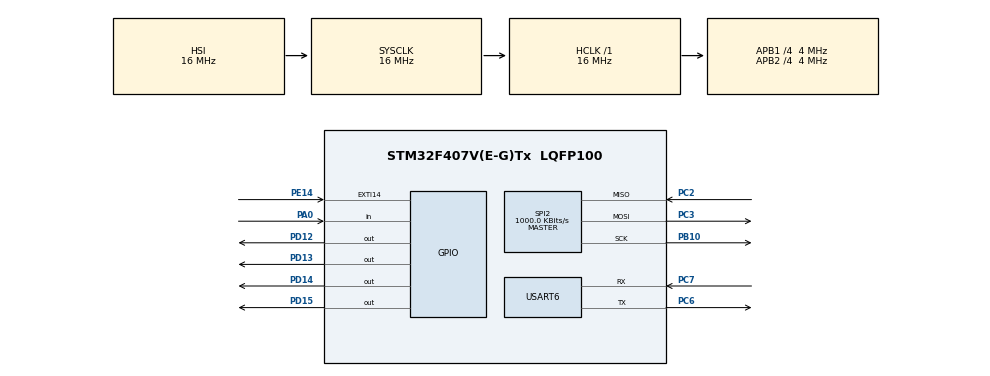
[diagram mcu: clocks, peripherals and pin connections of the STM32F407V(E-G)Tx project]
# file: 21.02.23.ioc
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Mcu.Family=STM32F4
Mcu.Name=STM32F407V(E-G)Tx
Mcu.Package=LQFP100
NVIC.EXTI15_10_IRQn=true\:0\:0\:false\:false\:true\:true\:true\:true
NVIC.PriorityGroup=NVIC_PRIORITYGROUP_0
PA0-WKUP.Signal=GPIO_Input
PA13.Mode=Serial_Wire
PA13.Signal=SYS_JTMS-SWDIO
PA14.Mode=Serial_Wire
PA14.Signal=SYS_JTCK-SWCLK
PB10.Mode=Full_Duplex_Master
PB10.Signal=SPI2_SCK
PC2.Mode=Full_Duplex_Master
PC2.Signal=SPI2_MISO
PC3.Mode=Full_Duplex_Master
PC3.Signal=SPI2_MOSI
PC6.Mode=Asynchronous
PC6.Signal=USART6_TX
PC7.Mode=Asynchronous
PC7.Signal=USART6_RX
PD12.Signal=GPIO_Output
PD13.Signal=GPIO_Output
PD14.Signal=GPIO_Output
PD15.Signal=GPIO_Output
PE14.Signal=GPXTI14
ProjectManager.HeapSize=0x200
ProjectManager.StackSize=0x400
ProjectManager.TargetToolchain=MDK-ARM V5.32
RCC.48MHZClocksFreq_Value=96000000
RCC.AHBFreq_Value=16000000
RCC.APB1CLKDivider=RCC_HCLK_DIV4
RCC.APB1Freq_Value=4000000
RCC.APB1TimFreq_Value=8000000
RCC.APB2CLKDivider=RCC_HCLK_DIV4
RCC.APB2Freq_Value=4000000
RCC.APB2TimFreq_Value=8000000
RCC.CortexFreq_Value=16000000
RCC.HCLKFreq_Value=16000000
RCC.HSE_VALUE=8000000
RCC.HSI_VALUE=16000000
RCC.LSE_VALUE=32768
RCC.PLLM=8
RCC.PLLN=336
RCC.PLLQ=7
RCC.SYSCLKFreq_VALUE=16000000
RCC.VCOOutputFreq_Value=672000000
SPI2.BaudRatePrescaler=SPI_BAUDRATEPRESCALER_4
SPI2.CalculateBaudRate=1000.0 KBits/s
SPI2.Direction=SPI_DIRECTION_2LINES
SPI2.Mode=SPI_MODE_MASTER
SPI2.VirtualType=VM_MASTER
USART6.VirtualMode=VM_ASYNC
board=STM32F407G-DISC1

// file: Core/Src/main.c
/* USER CODE BEGIN Header */
/**
  ******************************************************************************
  * @file           : main.c
  * @brief          : Main program body
  ******************************************************************************
  * @attention
  *
  * Copyright (c) 2023 STMicroelectronics.
  * All rights reserved.
  *
  * This software is licensed under terms that can be found in the LICENSE file
  * in the root directory of this software component.
  * If no LICENSE file comes with this software, it is provided AS-IS.
  *
  ******************************************************************************
  */
/* USER CODE END Header */
#include "main.h"

/* USER CODE BEGIN Includes */
#include <stdio.h>
/* USER CODE END Includes */

/* USER CODE BEGIN PTD */
#ifdef __GNUC__
  /* With GCC, small printf (option LD Linker->Libraries->Small printf
     set to 'Yes') calls __io_putchar() */
  #define PUTCHAR_PROTOTYPE int __io_putchar(int ch)
#else
  #define PUTCHAR_PROTOTYPE int fputc(int ch, FILE *f)
#endif /* __GNUC__ */
/* USER CODE END PTD */

void TDC7200_SPIByteWriteReg(uint8_t addr, uint8_t value);
/* USER CODE BEGIN PM */
/************************************************************
* TDC7200 REGISTER SET ADDRESSES
************************************************************/

#define TDC7200_CONFIG1_REG						0x00
#define TDC7200_CONFIG2_REG						0x01
#define TDC7200_INTRPT_STATUS_REG				0x02
#define TDC7200_INTRPT_MASK_REG					0x03
#define TDC7200_COARSE_COUNTER_OVH_REG			0x04
#define TDC7200_COARSE_COUNTER_OVL_REG			0x05
#define TDC7200_CLOCK_COUNTER_OVH_REG			0x06
#define TDC7200_CLOCK_COUNTER_OVL_REG			0x07
#define TDC7200_CLOCK_COUNTER_STOP_MASKH_REG	0x08
#define TDC7200_CLOCK_COUNTER_STOP_MASKL_REG	0x09

#define TDC7200_TIME1_REG						0x10
#define TDC7200_CLOCK_COUNT1_REG				0x11
#define TDC7200_TIME2_REG						0x12
#define TDC7200_CLOCK_COUNT2_REG				0x13
#define TDC7200_TIME3_REG						0x14
#define TDC7200_CLOCK_COUNT3_REG				0x15
#define TDC7200_TIME4_REG						0x16
#define TDC7200_CLOCK_COUNT4_REG				0x17
#define TDC7200_TIME5_REG						0x18
#define TDC7200_CLOCK_COUNT5_REG				0x19
#define TDC7200_TIME6_REG						0x1A
#define TDC7200_CALIBRATION1_REG				0x1B
#define TDC7200_CALIBRATION2_REG				0x1C

#define TDC7200_TOTAL_NUM_CONFIG_REG			10
#define TDC7200_TOTAL_NUM_RESULT_REG			39

/* USER CODE END PM */

SPI_HandleTypeDef hspi2;

UART_HandleTypeDef huart6;

/* USER CODE BEGIN PV */
void TDC7200_reg_init(void);
void tdc_trigger_measure(void);
/* USER CODE END PV */

void SystemClock_Config(void);
static void MX_GPIO_Init(void);
static void MX_SPI2_Init(void);
static void MX_USART6_UART_Init(void);
/* USER CODE BEGIN PFP */

uint8_t b[3],b0[2],b1[2],b2[2],b3[2],b4[2],b5[2],b6[2],b7[2],b8[2],b9[2],i0[3];
uint8_t temp[3];

uint8_t a0,a1,a2;
uint8_t d0[4],d1[4],d2[4],d3[4],d5[4];
/* USER CODE END PFP */
uint8_t TDC7200_reg_local_copy[10] = {0x02, 0x40, 0x07, 0x07, 0xFF, 0xFF, 0xFF, 0xFF, 0x0, 0x0 };
/* USER CODE BEGIN 0 */
int i=0;
uint8_t byte_data[3];
uint8_t read_data[2];
/* USER CODE END 0 */
uint8_t upStreamBuf[48];

    long int uTime[2];
    long int uClk;
    long int uCal[2];
 long int us, ur;
    long int ds, dr;
    long int dn;
    long int dmy;
int flag=0;
long double CLOCKperiod;
long double calCount,normLSB,TOF,LSB,mTOF;
int main(void)
{

  /* MCU Configuration--------------------------------------------------------*/

  /* Reset of all peripherals, Initializes the Flash interface and the Systick. */
  HAL_Init();

  /* Configure the system clock */
  SystemClock_Config();

  /* Initialize all configured peripherals */
  MX_GPIO_Init();
  MX_SPI2_Init();
  MX_USART6_UART_Init();
	printf("\n\rTDC7200\n\r ");
		printf("\n\rInitializing TDC7200 Registers.... ");
  /* USER CODE BEGIN 2 */
HAL_GPIO_WritePin(GPIOD, GPIO_PIN_14, GPIO_PIN_RESET);//en
HAL_Delay(1000);
HAL_GPIO_WritePin(GPIOD, GPIO_PIN_14, GPIO_PIN_SET);//en

  /* USER CODE END 2 */
/* init registers of TDC7200 */
TDC7200_reg_init();

	printf("\n\rClear error flags and reset state machine");

HAL_GPIO_WritePin(GPIOD, GPIO_PIN_15, GPIO_PIN_RESET);
temp[0]= 0x02;
temp[0]|=(0x40);
temp[1]=0x1F;
HAL_SPI_Transmit(&hspi2,temp ,2, 50);
HAL_GPIO_WritePin(GPIOD, GPIO_PIN_15, GPIO_PIN_SET);
HAL_Delay(1000);
HAL_GPIO_WritePin(GPIOD, GPIO_PIN_15, GPIO_PIN_RESET);
temp[0]= TDC7200_INTRPT_STATUS_REG;
HAL_SPI_Transmit(&hspi2,temp ,1, 50);
HAL_SPI_Receive(&hspi2,&temp[2],1, 50);
HAL_GPIO_WritePin(GPIOD, GPIO_PIN_15, GPIO_PIN_SET);
HAL_Delay(1000);
printf("\n\r set start measurement bit");
HAL_GPIO_WritePin(GPIOD, GPIO_PIN_15, GPIO_PIN_RESET);

HAL_GPIO_WritePin(GPIOD, GPIO_PIN_15, GPIO_PIN_RESET);
byte_data[0]=TDC7200_CONFIG1_REG;
byte_data[0] |= 0x40;
byte_data[1] =0x03;
HAL_SPI_Transmit(&hspi2,byte_data,2, 50);
HAL_GPIO_WritePin(GPIOD, GPIO_PIN_15, GPIO_PIN_SET);
HAL_GPIO_WritePin(GPIOD, GPIO_PIN_13, GPIO_PIN_SET);
HAL_Delay(1/2);
HAL_GPIO_WritePin(GPIOD, GPIO_PIN_13, GPIO_PIN_RESET);
HAL_Delay(4);
HAL_GPIO_WritePin(GPIOD, GPIO_PIN_12, GPIO_PIN_SET);
HAL_Delay(1/2);
HAL_GPIO_WritePin(GPIOD, GPIO_PIN_12, GPIO_PIN_RESET);

HAL_Delay(3000);

printf("\n\r Measurement Done...Calculating TOF ");
printf(" \n\r Reading all the result registers");

//INT status

HAL_GPIO_WritePin(GPIOD, GPIO_PIN_15, GPIO_PIN_RESET);
i0[0]=0x02 ;//| 0x40;;
HAL_SPI_Transmit(&hspi2,i0 ,1, 50);
HAL_SPI_Receive(&hspi2,&i0[1],3, 50);
HAL_GPIO_WritePin(GPIOD, GPIO_PIN_15, GPIO_PIN_SET);
HAL_Delay(1000);

//TDC7200_TIME1_REG

HAL_GPIO_WritePin(GPIOD, GPIO_PIN_15, GPIO_PIN_RESET);
d0[0]=0x10 ;//| 0x40;;
HAL_SPI_Transmit(&hspi2,d0 ,1, 50);
HAL_SPI_Receive(&hspi2,&d0[1],3, 50);
HAL_GPIO_WritePin(GPIOD, GPIO_PIN_15, GPIO_PIN_SET);
HAL_Delay(1000);

//TDC7200_CLOCK_COUNT1_REG
HAL_GPIO_WritePin(GPIOD, GPIO_PIN_15, GPIO_PIN_RESET);
d1[0]=0x11;//| 0x40;
HAL_SPI_Transmit(&hspi2,d1 ,1, 50);
HAL_SPI_Receive(&hspi2,&d1[1],3, 50);
HAL_GPIO_WritePin(GPIOD, GPIO_PIN_15, GPIO_PIN_SET);
HAL_Delay(1000);

//TDC7200_TIME1_REG
HAL_GPIO_WritePin(GPIOD, GPIO_PIN_15, GPIO_PIN_RESET);
d5[0]=0x12;//| 0x40;
HAL_SPI_Transmit(&hspi2,d5 ,1, 50);
HAL_SPI_Receive(&hspi2,&d5[1],3, 50);
HAL_GPIO_WritePin(GPIOD, GPIO_PIN_15, GPIO_PIN_SET);
HAL_Delay(1000);
//TDC7200_CALIBRATION1_REG
HAL_GPIO_WritePin(GPIOD, GPIO_PIN_15, GPIO_PIN_RESET);
d2[0]=0x1B ;//| 0x40;;
HAL_SPI_Transmit(&hspi2,d2 ,1, 50);
HAL_SPI_Receive(&hspi2,&d2[1],3, 50);
HAL_GPIO_WritePin(GPIOD, GPIO_PIN_15, GPIO_PIN_SET);
HAL_Delay(1000);

//TDC7200_CALIBRATION2_REG
HAL_GPIO_WritePin(GPIOD, GPIO_PIN_15, GPIO_PIN_RESET);
d3[0]=0x1C;//| 0x40;
HAL_SPI_Transmit(&hspi2,d3 ,1, 50);
HAL_SPI_Receive(&hspi2,&d3[1],3, 50);
HAL_GPIO_WritePin(GPIOD, GPIO_PIN_15, GPIO_PIN_SET);
HAL_Delay(1000);

//tof ccalculation
uTime[0]=0;
uTime[0]=d0[1];
uTime[0] <<= 8;
uTime[0]  += d0[2];
uTime[0] <<= 8;
uTime[0]  += d0[3];

uTime[1]=0;
uTime[1]=d5[1];
uTime[1] <<= 8;
uTime[1]  += d5[2];
uTime[1] <<= 8;
uTime[1]  += d5[3];

		uClk   = 0;
   	uClk   = d1[1];
   	uClk <<= 8;
   	uClk  += d1[2];
   	uClk <<= 8;
   	uClk  += d1[3];

	  uCal[0]  = 0;
   	uCal[0]   = d2[1];
   	uCal[0] <<= 8;
   	uCal[0]  += d2[2];
    uCal[0] <<= 8;
   	uCal[0]  += d2[3];

		 uCal[1]  = 0;
   	uCal[1]   = d3[1];
   	uCal[1] <<= 8;
   	uCal[1]  += d3[2];
    uCal[1] <<= 8;
   	uCal[1]  += d3[3];

//		dmy = (uTime[0] - uTime[1])*140625;
//      dn  = uCal[1] - uCal[0];
//      us  = dmy / dn;

//      ur  = dmy - us*dn;
//      dmy = dn / 2;
//      ur  = (ur*8 + dmy);
//      ur  = ur / dn;
//      us  = 8*us + ur;
//      us  = us + uClk * 125000;

  calCount= (	uCal[1]-uCal[0])/(10-1);
	CLOCKperiod=(8000000);
	//normLSB=CLOCKperiod/calCount;
LSB=calCount*8000000;
normLSB=1/LSB;
  TOF=(uTime[0]*normLSB)+(uClk/CLOCKperiod)-(uTime[1]*normLSB);
 mTOF=TOF*1000;
printf("\n\r TOF= %f s",TOF);
printf("\n\r TOF(in ms)= %f ms",mTOF);
/* Infinite loop */
  while (1)
  {

  }
}
void HAL_GPIO_EXTI_Callback(uint16_t GPIO_Pin)
{
 //HAL_UART_Transmit(&huart6,(uint8_t*)"Trigger",sizeof("Trigger"),200);
flag=1;
}
void SystemClock_Config(void)
{
  RCC_OscInitTypeDef RCC_OscInitStruct = {0};
  RCC_ClkInitTypeDef RCC_ClkInitStruct = {0};

  /** Configure the main internal regulator output voltage
  */
  __HAL_RCC_PWR_CLK_ENABLE();
  __HAL_PWR_VOLTAGESCALING_CONFIG(PWR_REGULATOR_VOLTAGE_SCALE1);

  /** Initializes the RCC Oscillators according to the specified parameters
  * in the RCC_OscInitTypeDef structure.
  */
  RCC_OscInitStruct.OscillatorType = RCC_OSCILLATORTYPE_HSI;
  RCC_OscInitStruct.HSIState = RCC_HSI_ON;
  RCC_OscInitStruct.HSICalibrationValue = RCC_HSICALIBRATION_DEFAULT;
  RCC_OscInitStruct.PLL.PLLState = RCC_PLL_NONE;
  if (HAL_RCC_OscConfig(&RCC_OscInitStruct) != HAL_OK)
  {
    Error_Handler();
  }

  /** Initializes the CPU, AHB and APB buses clocks
  */
  RCC_ClkInitStruct.ClockType = RCC_CLOCKTYPE_HCLK|RCC_CLOCKTYPE_SYSCLK
                              |RCC_CLOCKTYPE_PCLK1|RCC_CLOCKTYPE_PCLK2;
  RCC_ClkInitStruct.SYSCLKSource = RCC_SYSCLKSOURCE_HSI;
  RCC_ClkInitStruct.AHBCLKDivider = RCC_SYSCLK_DIV1;
  RCC_ClkInitStruct.APB1CLKDivider = RCC_HCLK_DIV4;
  RCC_ClkInitStruct.APB2CLKDivider = RCC_HCLK_DIV4;

  if (HAL_RCC_ClockConfig(&RCC_ClkInitStruct, FLASH_LATENCY_0) != HAL_OK)
  {
    Error_Handler();
  }
}

static void MX_SPI2_Init(void)
{

  /* SPI2 parameter configuration*/
  hspi2.Instance = SPI2;
  hspi2.Init.Mode = SPI_MODE_MASTER;
  hspi2.Init.Direction = SPI_DIRECTION_2LINES;
  hspi2.Init.DataSize = SPI_DATASIZE_8BIT;
  hspi2.Init.CLKPolarity = SPI_POLARITY_LOW;
  hspi2.Init.CLKPhase = SPI_PHASE_1EDGE;
  hspi2.Init.NSS = SPI_NSS_SOFT;
  hspi2.Init.BaudRatePrescaler = SPI_BAUDRATEPRESCALER_4;
  hspi2.Init.FirstBit = SPI_FIRSTBIT_MSB;
  hspi2.Init.TIMode = SPI_TIMODE_DISABLE;
  hspi2.Init.CRCCalculation = SPI_CRCCALCULATION_DISABLE;
  hspi2.Init.CRCPolynomial = 10;
  if (HAL_SPI_Init(&hspi2) != HAL_OK)
  {
    Error_Handler();
  }

}

static void MX_USART6_UART_Init(void)
{

  huart6.Instance = USART6;
  huart6.Init.BaudRate = 115200;
  huart6.Init.WordLength = UART_WORDLENGTH_8B;
  huart6.Init.StopBits = UART_STOPBITS_1;
  huart6.Init.Parity = UART_PARITY_NONE;
  huart6.Init.Mode = UART_MODE_TX_RX;
  huart6.Init.HwFlowCtl = UART_HWCONTROL_NONE;
  huart6.Init.OverSampling = UART_OVERSAMPLING_16;
  if (HAL_UART_Init(&huart6) != HAL_OK)
  {
    Error_Handler();
  }

}

static void MX_GPIO_Init(void)
{
  GPIO_InitTypeDef GPIO_InitStruct = {0};

  /* GPIO Ports Clock Enable */
  __HAL_RCC_GPIOC_CLK_ENABLE();
  __HAL_RCC_GPIOA_CLK_ENABLE();
  __HAL_RCC_GPIOE_CLK_ENABLE();
  __HAL_RCC_GPIOB_CLK_ENABLE();
  __HAL_RCC_GPIOD_CLK_ENABLE();

  /*Configure GPIO pin Output Level */
  HAL_GPIO_WritePin(GPIOD, GPIO_PIN_12|GPIO_PIN_13|GPIO_PIN_14|GPIO_PIN_15, GPIO_PIN_RESET);

  /*Configure GPIO pin : PA0 */
  GPIO_InitStruct.Pin = GPIO_PIN_0;
  GPIO_InitStruct.Mode = GPIO_MODE_INPUT;
  GPIO_InitStruct.Pull = GPIO_NOPULL;
  HAL_GPIO_Init(GPIOA, &GPIO_InitStruct);

  /*Configure GPIO pin : PE14 */
  GPIO_InitStruct.Pin = GPIO_PIN_14;
  GPIO_InitStruct.Mode = GPIO_MODE_IT_RISING;
  GPIO_InitStruct.Pull = GPIO_NOPULL;
  HAL_GPIO_Init(GPIOE, &GPIO_InitStruct);

  /*Configure GPIO pins : PD12 PD13 PD14 PD15 */
  GPIO_InitStruct.Pin = GPIO_PIN_12|GPIO_PIN_13|GPIO_PIN_14|GPIO_PIN_15;
  GPIO_InitStruct.Mode = GPIO_MODE_OUTPUT_PP;
  GPIO_InitStruct.Pull = GPIO_NOPULL;
  GPIO_InitStruct.Speed = GPIO_SPEED_FREQ_LOW;
  HAL_GPIO_Init(GPIOD, &GPIO_InitStruct);

  /* EXTI interrupt init*/
  HAL_NVIC_SetPriority(EXTI15_10_IRQn, 0, 0);
  HAL_NVIC_EnableIRQ(EXTI15_10_IRQn);

}

/* USER CODE BEGIN 4 */
void TDC7200_reg_init(void)
{
	b[0]=0x00;
	for(int i=0;i<10;i++)
{
	b[0]|=(0x40);
	b[1]=TDC7200_reg_local_copy[i];
	HAL_GPIO_WritePin(GPIOD, GPIO_PIN_15, GPIO_PIN_RESET);
  HAL_SPI_Transmit(&hspi2,b ,2, 50);
  HAL_GPIO_WritePin(GPIOD, GPIO_PIN_15, GPIO_PIN_SET);
  HAL_Delay(1000);
	b[0]++;
}

//Setting CONFIG rEG1 0x00==0x02
HAL_GPIO_WritePin(GPIOD, GPIO_PIN_15, GPIO_PIN_RESET);
b[0]=(0x00)|(0x40);
b[1]=0x03;
HAL_SPI_Transmit(&hspi2,b ,2, 50);
HAL_GPIO_WritePin(GPIOD, GPIO_PIN_15, GPIO_PIN_SET);
HAL_Delay(1000);
//0x02==0x07
HAL_GPIO_WritePin(GPIOD, GPIO_PIN_15, GPIO_PIN_RESET);
b[0]=(0x02)|(0x40);
b[1]=0x07;
HAL_SPI_Transmit(&hspi2,b ,2, 50);
HAL_GPIO_WritePin(GPIOD, GPIO_PIN_15, GPIO_PIN_SET);
HAL_Delay(1000);

printf("\n\r TDC_7200 REGISTER AFTER INITIALIZATION");
////0x00
HAL_GPIO_WritePin(GPIOD, GPIO_PIN_15, GPIO_PIN_RESET);
b0[0]=TDC7200_CONFIG1_REG ;//| 0x40;;

HAL_SPI_Transmit(&hspi2,b0 ,1, 50);

//HAL_SPI_Transmit(&hspi2,byte_data ,1, 50);

HAL_SPI_Receive(&hspi2,&b0[1],1, 50);
HAL_GPIO_WritePin(GPIOD, GPIO_PIN_15, GPIO_PIN_SET);
printf("\n\r CONFIG1_REG:0x0%x",b0[1]);
HAL_Delay(1000);
////0x01
HAL_GPIO_WritePin(GPIOD, GPIO_PIN_15, GPIO_PIN_RESET);
b1[0]=TDC7200_CONFIG2_REG ;//| 0x40;;

HAL_SPI_Transmit(&hspi2,b1 ,1, 50);

//HAL_SPI_Transmit(&hspi2,byte_data ,1, 50);

HAL_SPI_Receive(&hspi2,&b1[1],1, 50);
HAL_GPIO_WritePin(GPIOD, GPIO_PIN_15, GPIO_PIN_SET);
printf("\n\r CONFIG2_REG:0x0%x",b1[1]);
HAL_Delay(1000);

////0x02
HAL_GPIO_WritePin(GPIOD, GPIO_PIN_15, GPIO_PIN_RESET);
b2[0]=TDC7200_INTRPT_STATUS_REG ;//| 0x40;;

HAL_SPI_Transmit(&hspi2,b2 ,1, 50);

//HAL_SPI_Transmit(&hspi2,byte_data ,1, 50);

HAL_SPI_Receive(&hspi2,&b2[1],1, 50);
HAL_GPIO_WritePin(GPIOD, GPIO_PIN_15, GPIO_PIN_SET);
printf("\n\r INTRPT_STATUS_REG:0x0%x",b2[1]);
HAL_Delay(1000);

////0x03

HAL_GPIO_WritePin(GPIOD, GPIO_PIN_15, GPIO_PIN_RESET);
b3[0]=TDC7200_INTRPT_MASK_REG ;//| 0x40;;

HAL_SPI_Transmit(&hspi2,b3 ,1, 50);

//HAL_SPI_Transmit(&hspi2,byte_data ,1, 50);

HAL_SPI_Receive(&hspi2,&b3[1],1, 50);
HAL_GPIO_WritePin(GPIOD, GPIO_PIN_15, GPIO_PIN_SET);
printf("\n\r INTRPT_MASK_REG:0x0%x",b3[1]);
HAL_Delay(1000);

////0x04

HAL_GPIO_WritePin(GPIOD, GPIO_PIN_15, GPIO_PIN_RESET);
b4[0]=TDC7200_COARSE_COUNTER_OVH_REG ;//| 0x40;;

HAL_SPI_Transmit(&hspi2,b4 ,1, 50);

//HAL_SPI_Transmit(&hspi2,byte_data ,1, 50);

HAL_SPI_Receive(&hspi2,&b4[1],1, 50);
HAL_GPIO_WritePin(GPIOD, GPIO_PIN_15, GPIO_PIN_SET);
printf("\n\r COARSE_COUNTER_OVH_REG:0x0%x",b4[1]);
HAL_Delay(1000);

////0x05

HAL_GPIO_WritePin(GPIOD, GPIO_PIN_15, GPIO_PIN_RESET);
b5[0]=TDC7200_COARSE_COUNTER_OVL_REG ;//| 0x40;;

HAL_SPI_Transmit(&hspi2,b5 ,1, 50);

//HAL_SPI_Transmit(&hspi2,byte_data ,1, 50);

HAL_SPI_Receive(&hspi2,&b5[1],1, 50);
HAL_GPIO_WritePin(GPIOD, GPIO_PIN_15, GPIO_PIN_SET);
printf("\n\r COARSE_COUNTER_OVL_REG:0x0%x",b5[1]);
HAL_Delay(1000);

////0x06

HAL_GPIO_WritePin(GPIOD, GPIO_PIN_15, GPIO_PIN_RESET);
b6[0]=TDC7200_CLOCK_COUNTER_OVH_REG ;//| 0x40;;

HAL_SPI_Transmit(&hspi2,b6 ,1, 50);

//HAL_SPI_Transmit(&hspi2,byte_data ,1, 50);

HAL_SPI_Receive(&hspi2,&b6[1],1, 50);
HAL_GPIO_WritePin(GPIOD, GPIO_PIN_15, GPIO_PIN_SET);
printf("\n\r CLOCK_COUNTER_OVH_REG:0x0%x",b6[1]);
HAL_Delay(1000);

////0x07

HAL_GPIO_WritePin(GPIOD, GPIO_PIN_15, GPIO_PIN_RESET);
b7[0]=TDC7200_CLOCK_COUNTER_OVL_REG ;//| 0x40;;

HAL_SPI_Transmit(&hspi2,b7 ,1, 50);

//HAL_SPI_Transmit(&hspi2,byte_data ,1, 50);

HAL_SPI_Receive(&hspi2,&b7[1],1, 50);
HAL_GPIO_WritePin(GPIOD, GPIO_PIN_15, GPIO_PIN_SET);
printf("\n\r CLOCK_COUNTER_OVL_REG:0x0%x",b7[1]);
HAL_Delay(1000);

////0x08

HAL_GPIO_WritePin(GPIOD, GPIO_PIN_15, GPIO_PIN_RESET);
b8[0]=TDC7200_CLOCK_COUNTER_STOP_MASKH_REG ;//| 0x40;;

HAL_SPI_Transmit(&hspi2,b8 ,1, 50);

//HAL_SPI_Transmit(&hspi2,byte_data ,1, 50);

HAL_SPI_Receive(&hspi2,&b8[1],1, 50);
HAL_GPIO_WritePin(GPIOD, GPIO_PIN_15, GPIO_PIN_SET);
printf("\n\r CLOCK_COUNTER_STOP_MASKH_REG:0x0%x",b8[1]);
HAL_Delay(1000);

////0x09

HAL_GPIO_WritePin(GPIOD, GPIO_PIN_15, GPIO_PIN_RESET);
b9[0]=TDC7200_CLOCK_COUNTER_STOP_MASKL_REG ;//| 0x40;;

HAL_SPI_Transmit(&hspi2,b9 ,1, 50);

//HAL_SPI_Transmit(&hspi2,byte_data ,1, 50);

HAL_SPI_Receive(&hspi2,&b9[1],1, 50);
HAL_GPIO_WritePin(GPIOD, GPIO_PIN_15, GPIO_PIN_SET);
printf("\n\r CLOCK_COUNTER_STOP_MASKL_REG:0x0%x",b9[1]);
HAL_Delay(1000);

}
PUTCHAR_PROTOTYPE
{
  /* Place your implementation of fputc here */
  /* e.g. write a character to the EVAL_COM1 and Loop until the end of transmission */
  HAL_UART_Transmit(&huart6, (uint8_t *)&ch, 1, 0xFFFF);

  return ch;
}

/* USER CODE END 4 */

void Error_Handler(void)
{
  __disable_irq();
  while (1)
  {
  }
}
